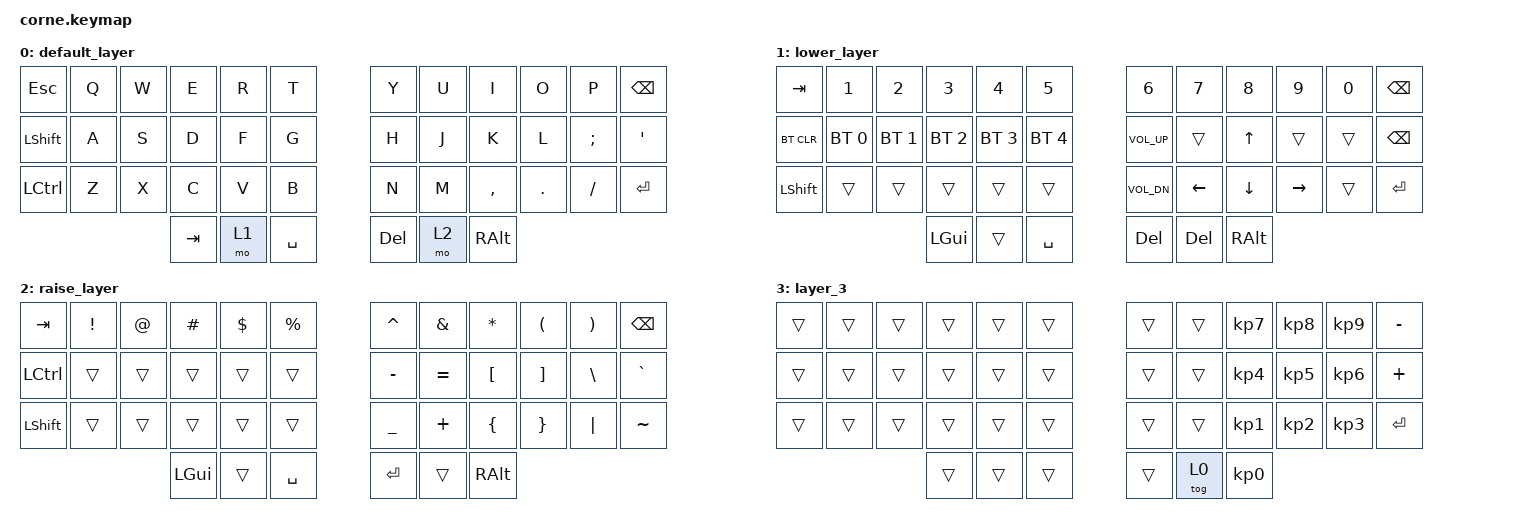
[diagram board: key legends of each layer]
/*
 * Copyright (c) 2020 The ZMK Contributors
 *
 * SPDX-License-Identifier: MIT
 */

#include <behaviors.dtsi>
#include <dt-bindings/zmk/bt.h>
#include <dt-bindings/zmk/keys.h>

/ {
    keymap {
        compatible = "zmk,keymap";

        default_layer {
            // -----------------------------------------------------------------------------------------
            // |  TAB |  Q  |  W  |  E  |  R  |  T  |   |  Y  |  U   |  I  |  O  |  P  | BSPC |
            // | CTRL |  A  |  S  |  D  |  F  |  G  |   |  H  |  J   |  K  |  L  |  ;  |  '   |
            // | SHFT |  Z  |  X  |  C  |  V  |  B  |   |  N  |  M   |  ,  |  .  |  /  | ESC  |
            //                    | GUI | LWR | SPC |   | ENT | RSE  | ALT |

            bindings = <
&kp ESC         &kp Q  &kp W  &kp E    &kp R  &kp T        &kp Y    &kp U  &kp I      &kp O    &kp P     &kp BSPC
&kp LEFT_SHIFT  &kp A  &kp S  &kp D    &kp F  &kp G        &kp H    &kp J  &kp K      &kp L    &kp SEMI  &kp SQT
&kp LCTRL       &kp Z  &kp X  &kp C    &kp V  &kp B        &kp N    &kp M  &kp COMMA  &kp DOT  &kp FSLH  &kp ENTER
                              &kp TAB  &mo 1  &kp SPACE    &kp DEL  &mo 2  &kp RALT
            >;
        };

        lower_layer {
            // -----------------------------------------------------------------------------------------
            // |  TAB |  1  |  2  |  3  |  4  |  5  |   |  6  |  7  |  8  |  9  |  0  | BSPC |
            // | BTCLR| BT1 | BT2 | BT3 | BT4 | BT5 |   | LFT | DWN |  UP | RGT |     |      |
            // | SHFT |     |     |     |     |     |   |     |     |     |     |     |      |
            //                    | GUI |     | SPC |   | ENT |     | ALT |

            bindings = <
&kp TAB     &kp N1        &kp N2        &kp N3        &kp N4        &kp N5          &kp N6        &kp N7      &kp N8    &kp N9     &kp N0  &kp BSPC
&bt BT_CLR  &bt BT_SEL 0  &bt BT_SEL 1  &bt BT_SEL 2  &bt BT_SEL 3  &bt BT_SEL 4    &kp C_VOL_UP  &trans      &kp UP    &trans     &trans  &kp BACKSPACE
&kp LSHFT   &trans        &trans        &trans        &trans        &trans          &kp C_VOL_DN  &kp LEFT    &kp DOWN  &kp RIGHT  &trans  &kp ENTER
                                        &kp LGUI      &trans        &kp SPACE       &kp DEL       &kp DELETE  &kp RALT
            >;
        };

        raise_layer {
            // -----------------------------------------------------------------------------------------
            // |  TAB |  !  |  @  |  #  |  $  |  %  |   |  ^  |  &  |  *  |  (  |  )  | BSPC |
            // | CTRL |     |     |     |     |     |   |  -  |  =  |  [  |  ]  |  \  |  `   |
            // | SHFT |     |     |     |     |     |   |  _  |  +  |  {  |  }  | "|" |  ~   |
            //                    | GUI |     | SPC |   | ENT |     | ALT |

            bindings = <
&kp TAB    &kp EXCL  &kp AT  &kp HASH  &kp DLLR  &kp PRCNT    &kp CARET  &kp AMPS   &kp ASTRK  &kp LPAR  &kp RPAR  &kp BSPC
&kp LCTRL  &trans    &trans  &trans    &trans    &trans       &kp MINUS  &kp EQUAL  &kp LBKT   &kp RBKT  &kp BSLH  &kp GRAVE
&kp LSHFT  &trans    &trans  &trans    &trans    &trans       &kp UNDER  &kp PLUS   &kp LBRC   &kp RBRC  &kp PIPE  &kp TILDE
                             &kp LGUI  &trans    &kp SPACE    &kp RET    &trans     &kp RALT
            >;
        };

        layer_3 {
            bindings = <
&trans  &trans  &trans  &trans  &trans  &trans    &trans  &trans  &kp KP_NUMBER_7  &kp KP_NUMBER_8  &kp KP_NUMBER_9  &kp MINUS
&trans  &trans  &trans  &trans  &trans  &trans    &trans  &trans  &kp KP_NUMBER_4  &kp KP_NUMBER_5  &kp KP_NUMBER_6  &kp PLUS
&trans  &trans  &trans  &trans  &trans  &trans    &trans  &trans  &kp KP_NUMBER_1  &kp KP_NUMBER_2  &kp KP_NUMBER_3  &kp ENTER
                        &trans  &trans  &trans    &trans  &tog 0  &kp KP_NUMBER_0
            >;
        };
    };
};
